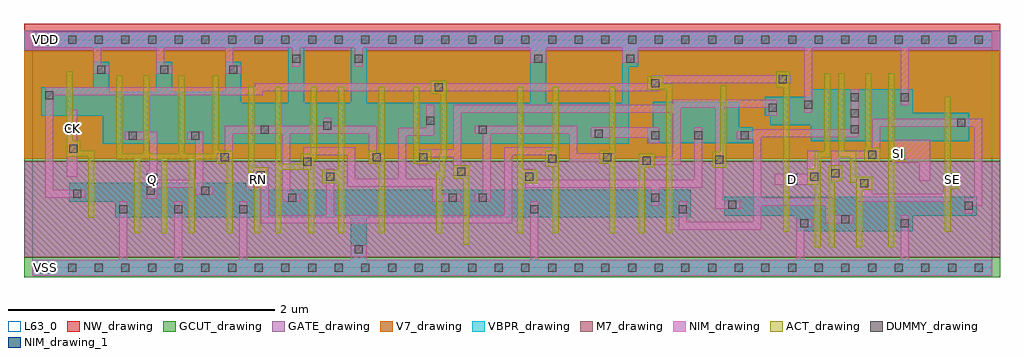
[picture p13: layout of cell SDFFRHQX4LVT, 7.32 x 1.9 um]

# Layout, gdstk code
import gdstk
lib = gdstk.Library(unit=1e-6, precision=5e-10)
def R(c, l, rs):  # rectangles x0, y0, x1, y1
    for r in rs: c.add(gdstk.rectangle(r[:2], r[2:], *l))
def A(c, l, x, y, w, h, nx, ny, dx, dy):  # array of equal rectangles
    R(c, l, [(x+i*dx, y+j*dy, x+i*dx+w, y+j*dy+h) for i in range(nx) for j in range(ny)])
def P(c, l, *ps):  # polygons
    for p in ps: c.add(gdstk.Polygon(p, *l))
VBPR_drawing = (1, 0)
NW_drawing = (2, 0)
ACT_drawing = (3, 0)
GATE_drawing = (4, 0)
GCUT_drawing = (5, 0)
DUMMY_drawing = (6, 0)
NIM_drawing = (7, 0)
NIM_drawing_1 = (7, 1)
M7_drawing = (26, 0)
V7_drawing = (27, 0)
L63_0 = (63, 0)

sdffrhqx4lvt = lib.new_cell('SDFFRHQX4LVT')
R(sdffrhqx4lvt, VBPR_drawing, [(0,-0.06,7.2,0.06), (0,1.65,7.2,1.77)])
P(sdffrhqx4lvt, VBPR_drawing, [(4.545,1.65),(4.425,1.65),(4.425,1.24),(3.855,1.24),(3.855,1.65),(3.735,1.65),(3.735,1.24),(2.51,1.24),(2.51,1.65),(2.39,1.65),(2.39,1.24),(2.04,1.24),(2.04,1.65),(1.92,1.65),(1.92,1.24),(1.57,1.24),(1.57,1.545),(1.45,1.545),(1.45,1.32),(1.05,1.32),(1.05,1.545),(0.93,1.545),(0.93,1.32),(0.58,1.32),(0.58,1.545),(0.46,1.545),(0.46,1.355),(0.07,1.355),(0.07,1.14),(0.53,1.14),(0.53,0.93),(4.475,0.93),(4.475,1.51),(4.545,1.51)],
  [(5.84,1.34),(6.605,1.34),(6.605,1.165),(7.03,1.165),(7.03,0.95),(5.84,0.95),(5.84,1.07),(5.535,1.07),(5.535,1.14),(5.495,1.14),(5.495,1.285),(5.84,1.285)],
  [(4.655,1.245),(5.305,1.245),(5.305,1.055),(5.405,1.055),(5.405,0.935),(4.615,0.935),(4.615,1.055),(4.655,1.055)],
  [(4.94,0.585),(1.605,0.585),(1.605,0.64),(0.28,0.64),(0.28,0.495),(0.625,0.495),(0.625,0.38),(2.39,0.38),(2.39,0.06),(2.51,0.06),(2.51,0.38),(4.94,0.38)],
  [(5.19,0.535),(7.085,0.535),(7.085,0.39),(6.605,0.39),(6.605,0.275),(5.73,0.275),(5.73,0.39),(5.19,0.39)])
R(sdffrhqx4lvt, NW_drawing, [(-0.06,0.82,7.26,1.83)])
P(sdffrhqx4lvt, ACT_drawing, [(0.26,1.475),(0.305,1.475),(0.305,0.955),(0.36,0.955),(0.36,0.88),(0.465,0.88),(0.465,0.375),(0.42,0.375),(0.42,0.835),(0.26,0.835)],
  [(0.63,1.44),(0.675,1.44),(0.675,0.855),(0.835,0.855),(0.835,1.44),(0.88,1.44),(0.88,0.855),(1.1,0.855),(1.1,1.44),(1.145,1.44),(1.145,0.855),(1.355,0.855),(1.355,1.44),(1.4,1.44),(1.4,0.88),(1.505,0.88),(1.505,0.26),(1.46,0.26),(1.46,0.78),(1.385,0.78),(1.385,0.81),(1.22,0.81),(1.22,0.26),(1.175,0.26),(1.175,0.81),(1.015,0.81),(1.015,0.26),(0.97,0.26),(0.97,0.81),(0.81,0.81),(0.81,0.26),(0.765,0.26),(0.765,0.81),(0.63,0.81)],
  [(1.62,1.36),(1.665,1.36),(1.665,0.755),(1.765,0.755),(1.765,0.635),(1.71,0.635),(1.71,0.26),(1.665,0.26),(1.665,0.71),(1.62,0.71)],
  [(1.825,1.36),(1.87,1.36),(1.87,0.78),(2.015,0.78),(2.015,0.855),(2.09,0.855),(2.09,1.36),(2.135,1.36),(2.135,0.81),(2.115,0.81),(2.115,0.26),(2.07,0.26),(2.07,0.735),(1.87,0.735),(1.87,0.26),(1.825,0.26)],
  [(2.295,1.36),(2.34,1.36),(2.34,0.26),(2.295,0.26),(2.295,0.635),(2.175,0.635),(2.175,0.735),(2.295,0.735)],
  [(2.99,1.405),(3.11,1.405),(3.11,0.81),(3.1,0.81),(3.1,0.675),(3.075,0.675),(3.075,0.26),(3.03,0.26),(3.03,0.72),(3.055,0.72),(3.055,0.855),(3.065,0.855),(3.065,1.305),(2.99,1.305)],
  [(2.6,1.36),(2.645,1.36),(2.645,0.26),(2.6,0.26),(2.6,0.78),(2.525,0.78),(2.525,0.88),(2.6,0.88)],
  [(2.86,1.36),(2.905,1.36),(2.905,0.88),(2.995,0.88),(2.995,0.78),(2.86,0.78)],
  [(3.64,1.36),(3.685,1.36),(3.685,0.735),(3.79,0.735),(3.79,0.635),(3.685,0.635),(3.685,0.26),(3.64,0.26)],
  [(3.905,1.36),(3.95,1.36),(3.95,0.26),(3.905,0.26),(3.905,0.76),(3.85,0.76),(3.85,0.88),(3.905,0.88)],
  [(4.33,1.36),(4.375,1.36),(4.375,0.26),(4.33,0.26),(4.33,0.78),(4.255,0.78),(4.255,0.88),(4.33,0.88)],
  [(5.58,1.475),(5.68,1.475),(5.68,0.27),(5.635,0.27),(5.635,1.355),(5.58,1.355)],
  [(4.615,1.435),(4.735,1.435),(4.735,1.38),(4.8,1.38),(4.8,0.26),(4.755,0.26),(4.755,1.335),(4.615,1.335)],
  [(5.94,1.46),(5.985,1.46),(5.985,0.83),(5.915,0.83),(5.915,0.155),(5.87,0.155),(5.87,0.625),(5.815,0.625),(5.815,0.745),(5.87,0.745),(5.87,0.875),(5.94,0.875)],
  [(6.045,1.46),(6.09,1.46),(6.09,0.875),(6.18,0.875),(6.18,0.685),(6.3,0.685),(6.3,0.585),(6.225,0.585),(6.225,0.155),(6.18,0.155),(6.18,0.64),(6.135,0.64),(6.135,0.83),(6.045,0.83)],
  [(6.25,1.46),(6.295,1.46),(6.295,0.9),(6.36,0.9),(6.36,0.8),(6.24,0.8),(6.24,0.9),(6.25,0.9)],
  [(6.42,1.46),(6.465,1.46),(6.465,0.9),(6.55,0.9),(6.55,0.8),(6.465,0.8),(6.465,0.155),(6.42,0.155)],
  [(5.16,1.365),(5.205,1.365),(5.205,0.75),(5.105,0.75),(5.105,0.87),(5.16,0.87)],
  [(6.845,1.285),(6.89,1.285),(6.89,0.715),(6.945,0.715),(6.945,0.595),(6.89,0.595),(6.89,0.27),(6.845,0.27)],
  [(4.55,0.855),(4.67,0.855),(4.67,0.755),(4.595,0.755),(4.595,0.26),(4.55,0.26)],
  [(5.975,0.77),(6.075,0.77),(6.075,0.65),(6.02,0.65),(6.02,0.155),(5.975,0.155)],
  [(3.16,0.77),(3.28,0.77),(3.28,0.175),(3.235,0.175),(3.235,0.67),(3.16,0.67)])
R(sdffrhqx4lvt, GATE_drawing, [(-0.06,0.08,7.26,0.8), (-0.06,1.63,7.26,1.78)])
R(sdffrhqx4lvt, GCUT_drawing, [(-0.06,-0.07,7.26,0.08), (-0.06,0.8,7.26,1.63)])
A(sdffrhqx4lvt, DUMMY_drawing, 0.07, -0.03, 0.06, 0.06, 36, 2, 0.2, 1.71)
A(sdffrhqx4lvt, DUMMY_drawing, 6.14, 1.01, 0.06, 0.06, 1, 3, 0, 0.12)
R(sdffrhqx4lvt, DUMMY_drawing, [(2.42,0.11,2.48,0.17), (5.76,0.305,5.82,0.365), (6.515,0.305,6.575,0.365), (6.07,0.335,6.13,0.395), (0.655,0.41,0.715,0.47), (1.065,0.41,1.125,0.47), (1.555,0.41,1.615,0.47), (3.735,0.41,3.795,0.47), (4.85,0.41,4.91,0.47), (6.995,0.435,7.055,0.495), (5.22,0.445,5.28,0.505), (1.92,0.495,1.98,0.555), (3.125,0.495,3.185,0.555), (3.35,0.495,3.41,0.555), (4.645,0.495,4.705,0.555), (0.31,0.525,0.37,0.585), (0.86,0.55,0.92,0.61), (1.27,0.55,1.33,0.61), (6.21,0.605,6.27,0.665), (6.865,0.625,6.925,0.685), (2.205,0.655,2.265,0.715), (3.7,0.655,3.76,0.715), (5.835,0.655,5.895,0.715), (1.685,0.665,1.745,0.725), (5.995,0.68,6.055,0.74), (3.19,0.69,3.25,0.75), (2.035,0.765,2.095,0.825), (4.58,0.775,4.64,0.835), (5.125,0.78,5.185,0.84), (3.87,0.79,3.93,0.85), (1.415,0.8,1.475,0.86), (2.555,0.8,2.615,0.86), (2.905,0.8,2.965,0.86), (4.285,0.8,4.345,0.86), (6.27,0.82,6.33,0.88), (6.46,0.82,6.52,0.88), (0.28,0.865,0.34,0.925), (0.725,0.96,0.785,1.02), (1.195,0.96,1.255,1.02), (4.645,0.965,4.705,1.025), (4.965,0.965,5.025,1.025), (5.315,0.965,5.375,1.025), (4.22,0.975,4.28,1.035), (1.715,1.005,1.775,1.065), (3.35,1.005,3.41,1.065), (2.185,1.035,2.245,1.095), (6.94,1.06,7,1.12), (2.955,1.075,3.015,1.135), (5.525,1.17,5.585,1.23), (5.79,1.195,5.85,1.255), (6.515,1.25,6.575,1.31), (0.1,1.265,0.16,1.325), (3.02,1.325,3.08,1.385), (4.645,1.355,4.705,1.415), (5.6,1.385,5.66,1.445), (0.49,1.455,0.55,1.515), (0.96,1.455,1.02,1.515), (1.48,1.455,1.54,1.515), (1.95,1.54,2.01,1.6), (2.42,1.54,2.48,1.6), (3.765,1.54,3.825,1.6), (4.455,1.54,4.515,1.6)])
R(sdffrhqx4lvt, NIM_drawing, [(0.655,0.06,0.715,0.5), (1.065,0.06,1.125,0.5), (1.555,0.06,1.615,0.5), (2.39,0.06,2.51,0.17), (3.735,0.06,3.795,0.5), (6.515,0.06,6.575,0.395), (0.26,0.685,0.34,1.185), (5.79,1.165,5.85,1.65), (6.515,1.22,6.575,1.65), (1.95,1.51,2.01,1.65), (2.42,1.51,2.48,1.65), (3.735,1.54,3.855,1.65), (4.425,1.54,4.545,1.65)])
P(sdffrhqx4lvt, NIM_drawing, [(0.58,1.515),(0.52,1.515),(0.52,1.65),(0.46,1.65),(0.46,1.455),(0.58,1.455)],
  [(1.05,1.515),(0.99,1.515),(0.99,1.65),(0.93,1.65),(0.93,1.455),(1.05,1.455)],
  [(1.57,1.515),(1.51,1.515),(1.51,1.65),(1.45,1.65),(1.45,1.455),(1.57,1.455)],
  [(5.85,0.365),(5.73,0.365),(5.73,0.06),(5.79,0.06),(5.79,0.305),(5.85,0.305)],
  [(4.645,1.445),(5.69,1.445),(5.69,1.385),(4.705,1.385),(4.705,1.325),(1.73,1.325),(1.73,1.295),(0.16,1.295),(0.16,0.585),(0.4,0.585),(0.4,0.525),(0.1,0.525),(0.1,1.355),(1.67,1.355),(1.67,1.385),(4.645,1.385)],
  [(4.805,1.26),(5.585,1.26),(5.585,1.14),(5.525,1.14),(5.525,1.2),(5.185,1.2),(5.185,0.505),(5.31,0.505),(5.31,0.445),(5.125,0.445),(5.125,1.2),(4.865,1.2),(4.865,0.775),(4.55,0.775),(4.55,0.835),(4.805,0.835),(4.805,1.165),(3.22,1.165),(3.22,0.75),(3.28,0.75),(3.28,0.69),(3.16,0.69),(3.16,0.83),(2.965,0.83),(2.965,0.77),(2.905,0.77),(2.905,0.89),(3.16,0.89),(3.16,1.225),(4.805,1.225)],
  [(2.955,1.225),(3.015,1.225),(3.015,0.99),(2.805,0.99),(2.805,0.67),(3.06,0.67),(3.06,0.555),(3.215,0.555),(3.215,0.495),(3,0.495),(3,0.61),(2.365,0.61),(2.365,0.845),(2.095,0.845),(2.095,0.735),(2.035,0.735),(2.035,0.905),(2.425,0.905),(2.425,0.67),(2.745,0.67),(2.745,1.05),(2.955,1.05)],
  [(2.185,1.125),(2.245,1.125),(2.245,1.065),(2.585,1.065),(2.585,0.86),(2.645,0.86),(2.645,0.8),(2.525,0.8),(2.525,1.005),(1.935,1.005),(1.935,0.555),(2.01,0.555),(2.01,0.495),(1.875,0.495),(1.875,1.005),(1.505,1.005),(1.505,0.8),(1.385,0.8),(1.385,0.86),(1.445,0.86),(1.445,1.065),(2.185,1.065)],
  [(0.695,1.02),(0.94,1.02),(0.94,0.66),(1.225,0.66),(1.225,0.96),(1.165,0.96),(1.165,1.02),(1.285,1.02),(1.285,0.61),(1.36,0.61),(1.36,0.55),(1.225,0.55),(1.225,0.6),(0.94,0.6),(0.94,0.52),(0.86,0.52),(0.86,0.73),(0.88,0.73),(0.88,0.96),(0.695,0.96)],
  [(3.54,0.905),(3.93,0.905),(3.93,0.76),(3.87,0.76),(3.87,0.845),(3.6,0.845),(3.6,0.335),(1.715,0.335),(1.715,0.6),(1.66,0.6),(1.66,0.755),(1.775,0.755),(1.775,0.395),(2.205,0.395),(2.205,0.745),(2.265,0.745),(2.265,0.395),(3.54,0.395)],
  [(3.32,1.065),(4.09,1.065),(4.09,0.86),(4.375,0.86),(4.375,0.8),(4.03,0.8),(4.03,1.005),(3.44,1.005),(3.44,0.495),(3.32,0.495),(3.32,0.555),(3.38,0.555),(3.38,1.005),(3.32,1.005)],
  [(4.19,1.055),(4.705,1.055),(4.705,0.935),(4.625,0.935),(4.625,0.975),(4.19,0.975)],
  [(3.7,0.745),(3.76,0.745),(3.76,0.66),(4.965,0.66),(4.965,1.055),(5.025,1.055),(5.025,0.6),(4.705,0.6),(4.705,0.465),(4.645,0.465),(4.645,0.6),(3.7,0.6)],
  [(6.14,1.34),(6.2,1.34),(6.2,0.98),(5.47,0.98),(5.47,0.525),(6.01,0.525),(6.01,0.395),(6.16,0.395),(6.16,0.335),(5.95,0.335),(5.95,0.465),(5.47,0.465),(5.47,0.285),(4.85,0.285),(4.85,0.5),(4.91,0.5),(4.91,0.345),(5.41,0.345),(5.41,0.965),(5.285,0.965),(5.285,1.025),(5.41,1.025),(5.41,1.04),(6.14,1.04)],
  [(6.3,1.12),(7.125,1.12),(7.125,0.465),(7.055,0.465),(7.055,0.405),(6.995,0.405),(6.995,0.525),(7.065,0.525),(7.065,1.06),(6.36,1.06),(6.36,0.82),(6.055,0.82),(6.055,0.65),(5.995,0.65),(5.995,0.88),(6.3,0.88)],
  [(6.46,0.96),(6.735,0.96),(6.735,0.655),(6.655,0.655),(6.655,0.79),(6.46,0.79)],
  [(5.815,0.88),(5.895,0.88),(5.895,0.625),(5.57,0.625),(5.57,0.705),(5.815,0.705)],
  [(6.18,0.665),(6.3,0.665),(6.3,0.555),(6.835,0.555),(6.835,0.705),(6.965,0.705),(6.965,0.625),(6.895,0.625),(6.895,0.495),(6.18,0.495)])
R(sdffrhqx4lvt, NIM_drawing_1, [(0.06,-0.04,0.14,0.04), (0.86,0.625,0.94,0.705), (1.66,0.625,1.74,0.705), (5.66,0.625,5.74,0.705), (6.86,0.625,6.94,0.705), (6.46,0.815,6.54,0.895), (0.26,1.005,0.34,1.085), (0.06,1.67,0.14,1.75)])
R(sdffrhqx4lvt, M7_drawing, [(-0.06,0.08,7.26,0.8)])
R(sdffrhqx4lvt, V7_drawing, [(-0.06,0.82,7.26,1.63)])
R(sdffrhqx4lvt, L63_0, [(0,0,7.2,1.71)])
sdffrhqx4lvt.add(gdstk.FlexPath([(0,0),(7.2,0)], 0.12, ends="flush", simple_path=True, layer=7, datatype=0))  # NIM_drawing
sdffrhqx4lvt.add(gdstk.FlexPath([(0,1.71),(7.2,1.71)], 0.12, ends="flush", simple_path=True, layer=7, datatype=0))  # NIM_drawing
sdffrhqx4lvt.add(gdstk.Label('SE', (6.9,0.665), layer=7, texttype=1))
sdffrhqx4lvt.add(gdstk.Label('SI', (6.5,0.855), layer=7, texttype=1))
sdffrhqx4lvt.add(gdstk.Label('D', (5.7,0.665), layer=7, texttype=1))
sdffrhqx4lvt.add(gdstk.Label('RN', (1.7,0.665), layer=7, texttype=1))
sdffrhqx4lvt.add(gdstk.Label('CK', (0.3,1.045), layer=7, texttype=1))
sdffrhqx4lvt.add(gdstk.Label('Q', (0.9,0.665), layer=7, texttype=1))
sdffrhqx4lvt.add(gdstk.Label('VDD', (0.1,1.71), layer=7, texttype=1))
sdffrhqx4lvt.add(gdstk.Label('VSS', (0.1,0), layer=7, texttype=1))
sdffrhqx4lvt.add(gdstk.Label('VSS', (0.1,0), layer=7, texttype=1))
sdffrhqx4lvt.add(gdstk.Label('VDD', (0.1,1.71), layer=7, texttype=1))
sdffrhqx4lvt.add(gdstk.Label('Q', (0.9,0.665), layer=7, texttype=1))
sdffrhqx4lvt.add(gdstk.Label('CK', (0.3,1.045), layer=7, texttype=1))
sdffrhqx4lvt.add(gdstk.Label('RN', (1.7,0.665), layer=7, texttype=1))
sdffrhqx4lvt.add(gdstk.Label('D', (5.7,0.665), layer=7, texttype=1))
sdffrhqx4lvt.add(gdstk.Label('SI', (6.5,0.855), layer=7, texttype=1))
sdffrhqx4lvt.add(gdstk.Label('SE', (6.9,0.665), layer=7, texttype=1))
sdffrhqx4lvt.add(gdstk.Label('SDFFRHQX4', (0,0), layer=63, texttype=0))

lib.write_gds('SDFFRHQX4LVT.gds')
